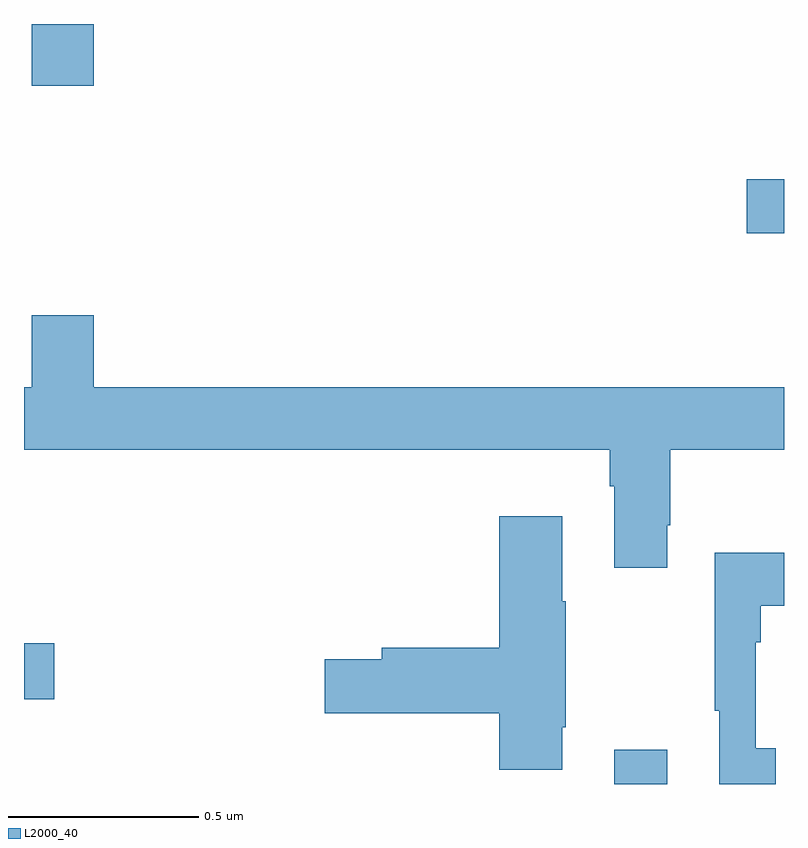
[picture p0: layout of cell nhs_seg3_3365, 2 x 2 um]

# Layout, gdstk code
import gdstk
lib = gdstk.Library(unit=1e-6, precision=1e-09)
def R(c, l, rs):  # rectangles x0, y0, x1, y1
    for r in rs: c.add(gdstk.rectangle(r[:2], r[2:], *l))
def P(c, l, *ps):  # polygons
    for p in ps: c.add(gdstk.Polygon(p, *l))
L2000_40 = (2000, 40)

nhs_seg3_3365 = lib.new_cell('nhs_seg3_3365')
R(nhs_seg3_3365, L2000_40, [(154.553,669.4,154.693,669.49), (153,669.623,153.079,669.77), (154.902,670.849,155,670.991), (153.02,671.238,153.184,671.4)])
P(nhs_seg3_3365, L2000_40, [(154.693,670.081),(154.701,670.081),(154.701,670.28),(155,670.28),(155,670.444),(153.184,670.444),(153.184,670.633),(153.02,670.633),(153.02,670.444),(153,670.444),(153,670.28),(154.541,670.28),(154.541,670.184),(154.553,670.184),(154.553,669.969),(154.693,669.969)],
  [(154.417,669.55),(154.425,669.55),(154.425,669.881),(154.417,669.881),(154.417,670.105),(154.25,670.105),(154.25,669.758),(153.941,669.758),(153.941,669.728),(153.792,669.728),(153.792,669.586),(154.25,669.586),(154.25,669.438),(154.417,669.438)],
  [(154.978,669.494),(154.926,669.494),(154.926,669.773),(154.939,669.773),(154.939,669.869),(155,669.869),(155,670.009),(154.818,670.009),(154.818,669.593),(154.829,669.593),(154.829,669.4),(154.978,669.4)])

lib.write_gds('nhs_seg3_3365.gds')
